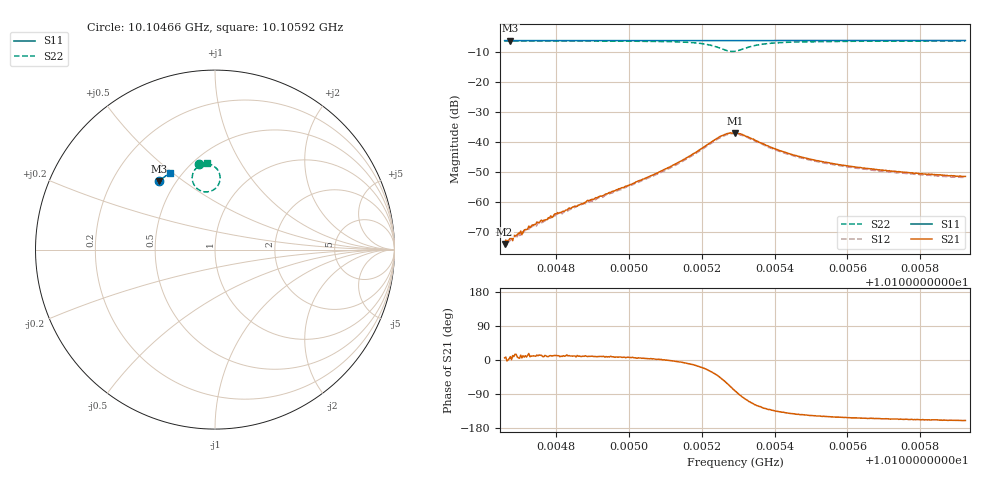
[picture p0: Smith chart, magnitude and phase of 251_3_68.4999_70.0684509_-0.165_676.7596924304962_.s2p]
#  HZ  S  RI  R  50.00
! Rohde & Schwarz Vector Network Analyzer
! Rohde-Schwarz,ZNB20-2Port,1311601062101988,3.16
! Created: UTC 3/20/2024, 5:14:58 PM
! freq[Hz]  re:S11  im:S11  re:S21  im:S21  re:S12  im:S12  re:S22  im:S22
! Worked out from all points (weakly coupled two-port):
!   401 points, 10.10466 GHz to 10.10592 GHz, reference 50 ohm
!   highest |S21| = -36.97 dB at 10.10529 GHz (marker M1); lowest = -74.1 dB at 10.10466 GHz (marker M2)
!   lowest |S11| = -6.2 dB at 10.10467 GHz (marker M3), VSWR 2.94, Z = 20.3 + j20.6 ohm
!   |S11| at or under -10 dB: nowhere
!   |S22| runs from -9.8 to -6.3 dB; largest |S21 - S12| = 0.0016
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1.0104658e10  -0.3102 0.3825  0.000196 1.94e-05  0.000195 3.59e-05  -0.0904 0.4762
1.0104668e10  -0.3099 0.3829  0.000225 9.27e-07  0.000208 2.6e-05  -0.0896 0.4764
1.0104674e10  -0.3094 0.3831  0.000244 3.79e-05  0.000231 2.04e-05  -0.089 0.4765
1.010469e10  -0.3089 0.3839  0.000265 7.05e-05  0.000255 6.89e-05  -0.0874 0.4767
1.0104712e10  -0.3078 0.3848  0.000333 4.56e-05  0.000312 6.43e-05  -0.0854 0.4772
1.0104734e10  -0.3067 0.3855  0.000402 7.58e-05  0.000391 0.000116  -0.0834 0.4774
1.0104753e10  -0.3057 0.3864  0.000435 0.000103  0.000412 0.000138  -0.0814 0.4778
1.0104769e10  -0.305 0.387  0.000484 0.000103  0.000465 0.00013  -0.0799 0.478
1.0104801e10  -0.3036 0.3881  0.000612 0.000129  0.000584 0.000189  -0.0767 0.4784
1.010487e10  -0.3003 0.391  0.000916 0.000149  0.000867 0.00026  -0.069 0.4794
1.0105082e10  -0.29 0.3992  0.00314 0.000108  0.00297 0.000322  -0.0311 0.4763
1.0105177e10  -0.2853 0.4028  0.00622 -0.00138  0.00604 -0.00078  0.00612 0.4545
1.0105234e10  -0.2822 0.4045  0.00871 -0.00623  0.0089 -0.00509  0.0286 0.3965
1.0105266e10  -0.2809 0.4052  0.00697 -0.0115  0.00797 -0.0105  0.00114 0.3399
1.0105291e10  -0.28 0.4058  0.00215 -0.014  0.00335 -0.0132  -0.0575 0.322
1.0105326e10  -0.2788 0.4071  -0.00353 -0.0117  -0.00262 -0.0116  -0.1167 0.3606
1.0105373e10  -0.2766 0.4091  -0.00553 -0.00713  -0.00466 -0.0073  -0.125 0.4164
1.0105443e10  -0.2733 0.4119  -0.00489 -0.00397  -0.00437 -0.00423  -0.107 0.4512
1.0105503e10  -0.2702 0.4142  -0.00423 -0.00279  -0.00384 -0.00303  -0.0933 0.4638
1.0105582e10  -0.2663 0.417  -0.00362 -0.00201  -0.00332 -0.00222  -0.0797 0.4719
1.0105715e10  -0.2596 0.4215  -0.00302 -0.00136  -0.00275 -0.00155  -0.0627 0.4786
1.0105924e10  -0.2491 0.4285  -0.00249 -0.000925  -0.0023 -0.00107  -0.0428 0.4834
